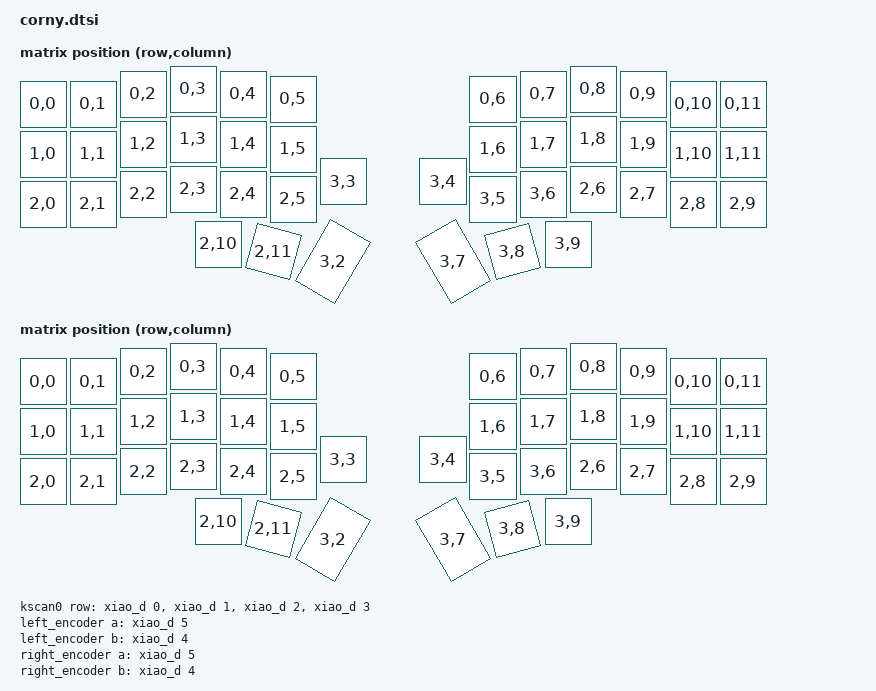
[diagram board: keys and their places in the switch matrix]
#include <dt-bindings/zmk/matrix_transform.h>
#include <layouts/foostan/corne/6column.dtsi>

&xiao_serial { status = "disabled"; };

&foostan_corne_6col_layout {
    keys  //                     w   h    x    y     rot    rx    ry
            = <&key_physical_attrs 100 100    0   30       0     0     0>
            , <&key_physical_attrs 100 100  100   30       0     0     0>
            , <&key_physical_attrs 100 100  200   10       0     0     0>
            , <&key_physical_attrs 100 100  300    0       0     0     0>
            , <&key_physical_attrs 100 100  400   10       0     0     0>
            , <&key_physical_attrs 100 100  500   20       0     0     0>
            , <&key_physical_attrs 100 100  900   20       0     0     0>
            , <&key_physical_attrs 100 100 1000   10       0     0     0>
            , <&key_physical_attrs 100 100 1100    0       0     0     0>
            , <&key_physical_attrs 100 100 1200   10       0     0     0>
            , <&key_physical_attrs 100 100 1300   30       0     0     0>
            , <&key_physical_attrs 100 100 1400   30       0     0     0>
            , <&key_physical_attrs 100 100    0  130       0     0     0>
            , <&key_physical_attrs 100 100  100  130       0     0     0>
            , <&key_physical_attrs 100 100  200  110       0     0     0>
            , <&key_physical_attrs 100 100  300  100       0     0     0>
            , <&key_physical_attrs 100 100  400  110       0     0     0>
            , <&key_physical_attrs 100 100  500  120       0     0     0>
            , <&key_physical_attrs 100 100  900  120       0     0     0>
            , <&key_physical_attrs 100 100 1000  110       0     0     0>
            , <&key_physical_attrs 100 100 1100  100       0     0     0>
            , <&key_physical_attrs 100 100 1200  110       0     0     0>
            , <&key_physical_attrs 100 100 1300  130       0     0     0>
            , <&key_physical_attrs 100 100 1400  130       0     0     0>
            , <&key_physical_attrs 100 100    0  230       0     0     0>
            , <&key_physical_attrs 100 100  100  230       0     0     0>
            , <&key_physical_attrs 100 100  200  210       0     0     0>
            , <&key_physical_attrs 100 100  300  200       0     0     0>
            , <&key_physical_attrs 100 100  400  210       0     0     0>
            , <&key_physical_attrs 100 100  500  220       0     0     0>
            , <&key_physical_attrs 100 100  900  220       0     0     0>
            , <&key_physical_attrs 100 100 1000  210       0     0     0>
            , <&key_physical_attrs 100 100 1100  200       0     0     0>
            , <&key_physical_attrs 100 100 1200  210       0     0     0>
            , <&key_physical_attrs 100 100 1300  230       0     0     0>
            , <&key_physical_attrs 100 100 1400  230       0     0     0>
            , <&key_physical_attrs 100 100  350  310       0     0     0>
            , <&key_physical_attrs 100 100  450  310    1500   450   410>
            , <&key_physical_attrs 100 150  550  280    3000   540   430>
            , <&key_physical_attrs 100 100  600  185       0     0     0>
            , <&key_physical_attrs 100 100  800  185       0     0     0>
            , <&key_physical_attrs 100 150  850  280 (-3000)   960   430>
            , <&key_physical_attrs 100 100  950  310 (-1500)  1050   410>
            , <&key_physical_attrs 100 100 1050  310       0     0     0>
            ;
    transform = <&six_col_transform>;
};

&layouts_foostan_corne_position_map {
    foostan_corne_6col_posmap: six {
        physical-layout = <&foostan_corne_6col_layout>;
        positions
            = < 0  1  2  3  4  5  6  7  8  9 10 11>
            , <12 13 14 15 16 17 18 19 20 21 22 23>
            , <24 25 26 27 28 29 30 31 32 33 34 35>
            , <      36 37 38 39 40 41 42 43      >;
    };
};

/ {
    chosen {
      zmk,kscan = &kscan0;
      zmk,physical-layout = &foostan_corne_6col_layout;
    };

    default_transform: keymap_transform_0 {
      compatible = "zmk,matrix-transform";
      columns = <12>;
      rows = <4>;
// | SW1  | SW2  | SW3  | SW4  | SW5  | SW6  |                  | SW6  | SW5  | SW4  | SW3  | SW2  | SW1  |
// | SW7  | SW8  | SW9  | SW10 | SW11 | SW12 |                  | SW12 | SW11 | SW10 | SW9  | SW8  | SW7  |
// | SW13 | SW14 | SW15 | SW16 | SW17 | SW18 | SW22 |   | SW22  | SW18 | SW17 | SW16 | SW15 | SW14 | SW13 |
//                      | SW19 | SW20 | SW21 |                  | SW21 | SW20 | SW19 |
	    map = <
RC(0,0) RC(0,1) RC(0,2) RC(0,3) RC(0,4) RC(0,5)                 RC(0,6) RC(0,7) RC(0,8) RC(0,9) RC(0,10) RC(0,11)
RC(1,0) RC(1,1) RC(1,2) RC(1,3) RC(1,4) RC(1,5)                 RC(1,6) RC(1,7) RC(1,8) RC(1,9) RC(1,10) RC(1,11)
RC(2,0) RC(2,1) RC(2,2) RC(2,3) RC(2,4) RC(2,5) RC(3,5) RC(3,6) RC(2,6) RC(2,7) RC(2,8) RC(2,9) RC(2,10) RC(2,11)
                        RC(3,2) RC(3,3) RC(3,4)                 RC(3,7) RC(3,8) RC(3,9)
      >;
    };

    kscan0: kscan {
      compatible = "zmk,kscan-gpio-matrix";
      label = "KSCAN";

      diode-direction = "col2row";
      row-gpios
        = <&xiao_d 0 (GPIO_ACTIVE_HIGH | GPIO_PULL_DOWN)>
        , <&xiao_d 1 (GPIO_ACTIVE_HIGH | GPIO_PULL_DOWN)>
        , <&xiao_d 2 (GPIO_ACTIVE_HIGH | GPIO_PULL_DOWN)>
        , <&xiao_d 3 (GPIO_ACTIVE_HIGH | GPIO_PULL_DOWN)>
        ;
    };

    six_col_transform: six_col_transform {
        compatible = "zmk,matrix-transform";
        columns = <12>;
        rows = <4>;
        map = <
            RC(0,0) RC(0,1) RC(0,2) RC(0,3) RC(0,4) RC(0,5)                 RC(0,6) RC(0,7) RC(0,8) RC(0,9) RC(0,10) RC(0,11)
            RC(1,0) RC(1,1) RC(1,2) RC(1,3) RC(1,4) RC(1,5)                 RC(1,6) RC(1,7) RC(1,8) RC(1,9) RC(1,10) RC(1,11)
            RC(2,0) RC(2,1) RC(2,2) RC(2,3) RC(2,4) RC(2,5) RC(3,5) RC(3,6) RC(2,6) RC(2,7) RC(2,8) RC(2,9) RC(2,10) RC(2,11)
                                    RC(3,2) RC(3,3) RC(3,4)                 RC(3,7) RC(3,8) RC(3,9)
        >;
    };

    left_encoder: encoder_left {
        compatible = "alps,ec11";
        label = "LEFT_ENCODER";
        a-gpios = <&xiao_d 5 (GPIO_ACTIVE_HIGH | GPIO_PULL_UP)>;
        b-gpios = <&xiao_d 4 (GPIO_ACTIVE_HIGH | GPIO_PULL_UP)>;
        steps = <40>;
        status = "disabled";
    };

    right_encoder: encoder_right {
        compatible = "alps,ec11";
        label = "RIGHT_ENCODER";
        a-gpios = <&xiao_d 5 (GPIO_ACTIVE_HIGH | GPIO_PULL_UP)>;
        b-gpios = <&xiao_d 4 (GPIO_ACTIVE_HIGH | GPIO_PULL_UP)>;
        steps = <40>;
        status = "disabled";
    };

    sensors {
        compatible = "zmk,keymap-sensors";
        sensors = <&left_encoder &right_encoder>;
        triggers-per-rotation = <20>;
    };
};
